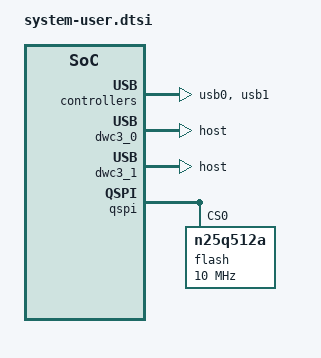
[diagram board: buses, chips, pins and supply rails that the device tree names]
/include/ "system-conf.dtsi"
/ {
    sit9121_0: sit9121_0 { /* clk0_usb - u23 */
		compatible = "fixed-clock";
		#clock-cells = <0>;
		clock-frequency = <26000000>;
	};
    sit9121_1: sit9121_1 { /* clk1_dp - u23 */
		compatible = "fixed-clock";
		#clock-cells = <0>;
		clock-frequency = <27000000>;
	};
};


&psgtr{
    /* usb3, dp */
	clocks = <&sit9121_0>, <&sit9121_1>;
	clock-names = "ref0", "ref1";
};

&usb0{
	status = "okay";
};

&dwc3_0{
	status = "okay";
	dr_mode = "host";                   
	maximum-speed = "super-speed";      
};

&usb1{
	status = "okay";
};

&dwc3_1{
	status = "okay";
	dr_mode = "host";                   
	maximum-speed = "super-speed";      
};

&qspi {
   	status = "okay";
   	flash@0 {
   	compatible = "n25q512a", "jedec,spi-nor";
   	reg = <0x0>;
   	spi-tx-bus-width = <4>;
   	spi-rx-bus-width = <4>;
   	spi-max-frequency = <10000000>;
   	#address-cells = <1>;
   	#size-cells = <1>;

  };
};
